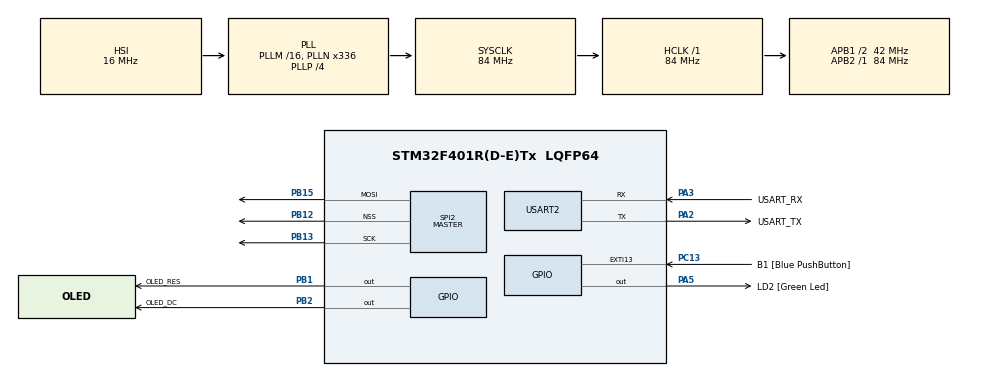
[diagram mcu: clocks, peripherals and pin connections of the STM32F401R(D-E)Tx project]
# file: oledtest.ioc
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Mcu.Family=STM32F4
Mcu.Name=STM32F401R(D-E)Tx
Mcu.Package=LQFP64
NVIC.PriorityGroup=NVIC_PRIORITYGROUP_0
PA13.GPIO_Label=TMS
PA13.Mode=Serial_Wire
PA13.Signal=SYS_JTMS-SWDIO
PA14.GPIO_Label=TCK
PA14.Mode=Serial_Wire
PA14.Signal=SYS_JTCK-SWCLK
PA2.GPIO_Label=USART_TX
PA2.GPIO_Mode=GPIO_MODE_AF_PP
PA2.GPIO_PuPd=GPIO_NOPULL
PA2.GPIO_Speed=GPIO_SPEED_FREQ_LOW
PA2.Mode=Asynchronous
PA2.Signal=USART2_TX
PA3.GPIO_Label=USART_RX
PA3.GPIO_Mode=GPIO_MODE_AF_PP
PA3.GPIO_PuPd=GPIO_NOPULL
PA3.GPIO_Speed=GPIO_SPEED_FREQ_LOW
PA3.Mode=Asynchronous
PA3.Signal=USART2_RX
PA5.GPIO_Label=LD2 [Green Led]
PA5.GPIO_Mode=GPIO_MODE_OUTPUT_PP
PA5.GPIO_PuPd=GPIO_NOPULL
PA5.GPIO_Speed=GPIO_SPEED_FREQ_LOW
PA5.Signal=GPIO_Output
PB1.GPIO_Label=OLED_RES
PB1.Signal=GPIO_Output
PB12.Mode=NSS_Signal_Hard_Output
PB12.Signal=SPI2_NSS
PB13.Mode=TX_Only_Simplex_Unidirect_Master
PB13.Signal=SPI2_SCK
PB15.Mode=TX_Only_Simplex_Unidirect_Master
PB15.Signal=SPI2_MOSI
PB2.GPIO_Label=OLED_DC
PB2.Signal=GPIO_Output
PB3.GPIO_Label=SWO
PB3.Signal=SYS_JTDO-SWO
PC13-ANTI_TAMP.GPIO_Label=B1 [Blue PushButton]
PC13-ANTI_TAMP.GPIO_ModeDefaultEXTI=GPIO_MODE_IT_FALLING
PC13-ANTI_TAMP.GPIO_PuPd=GPIO_NOPULL
PC13-ANTI_TAMP.Signal=GPXTI13
PC14-OSC32_IN.Mode=LSE-External-Oscillator
PC14-OSC32_IN.Signal=RCC_OSC32_IN
PC15-OSC32_OUT.Mode=LSE-External-Oscillator
PC15-OSC32_OUT.Signal=RCC_OSC32_OUT
PH0\ -\ OSC_IN.Mode=HSE-External-Clock-Source
PH0\ -\ OSC_IN.Signal=RCC_OSC_IN
PH1\ -\ OSC_OUT.Mode=HSE-External-Clock-Source
PH1\ -\ OSC_OUT.Signal=RCC_OSC_OUT
ProjectManager.HeapSize=0x200
ProjectManager.StackSize=0x400
ProjectManager.TargetToolchain=Makefile
RCC.48MHZClocksFreq_Value=48000000
RCC.AHBFreq_Value=84000000
RCC.APB1CLKDivider=RCC_HCLK_DIV2
RCC.APB1Freq_Value=42000000
RCC.APB1TimFreq_Value=84000000
RCC.APB2Freq_Value=84000000
RCC.APB2TimFreq_Value=84000000
RCC.CortexFreq_Value=84000000
RCC.HCLKFreq_Value=84000000
RCC.HSE_VALUE=8000000
RCC.HSI_VALUE=16000000
RCC.PLLN=336
RCC.PLLP=RCC_PLLP_DIV4
RCC.PLLQ=7
RCC.SYSCLKFreq_VALUE=84000000
RCC.SYSCLKSource=RCC_SYSCLKSOURCE_PLLCLK
RCC.VCOOutputFreq_Value=336000000
SPI2.BaudRatePrescaler=SPI_BAUDRATEPRESCALER_256
SPI2.Direction=SPI_DIRECTION_2LINES
SPI2.Mode=SPI_MODE_MASTER
SPI2.VirtualNSS=VM_NSSHARD
SPI2.VirtualType=VM_MASTER
USART2.VirtualMode=VM_ASYNC
board=NUCLEO-F401RE

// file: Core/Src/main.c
/* USER CODE BEGIN Header */
/**
  ******************************************************************************
  * @file           : main.c
  * @brief          : Main program body
  ******************************************************************************
  * @attention
  *
  * Copyright (c) 2024 STMicroelectronics.
  * All rights reserved.
  *
  * This software is licensed under terms that can be found in the LICENSE file
  * in the root directory of this software component.
  * If no LICENSE file comes with this software, it is provided AS-IS.
  *
  ******************************************************************************
  */
/* USER CODE END Header */
#include "main.h"
#include "spi.h"
#include "usart.h"
#include "gpio.h"

/* USER CODE BEGIN Includes */
#include <stdio.h>
#include "u8g2.h"

/* USER CODE END Includes */

/* USER CODE BEGIN PV */
static u8g2_t u8g2;
extern const uint8_t u8g2_font_zh_tw[] U8G2_FONT_SECTION("u8g2_font_zh_tw");

/* USER CODE END PV */

void SystemClock_Config(void);

/* USER CODE BEGIN 0 */
uint8_t u8x8_stm32_gpio_and_delay(U8X8_UNUSED u8x8_t *u8x8,
    U8X8_UNUSED uint8_t msg, U8X8_UNUSED uint8_t arg_int,
    U8X8_UNUSED void *arg_ptr)
{
  switch (msg)
  {
  case U8X8_MSG_GPIO_AND_DELAY_INIT:
    HAL_Delay(1);
    break;
  case U8X8_MSG_DELAY_MILLI:
    HAL_Delay(arg_int);
    break;
  case U8X8_MSG_GPIO_CS:
    // HAL_GPIO_WritePin(CS_GPIO_Port, CS_Pin, arg_int);
  case U8X8_MSG_GPIO_DC:
    // HAL_GPIO_WritePin(OLED_DC_GPIO_Port, OLED_DC_Pin, arg_int);
    break;
  case U8X8_MSG_GPIO_RESET:
    HAL_GPIO_WritePin(OLED_RES_GPIO_Port, OLED_RES_Pin, arg_int);
    break;
  }
  return 1;
}

uint8_t u8x8_byte_4wire_hw_spi(u8x8_t *u8x8, uint8_t msg, uint8_t arg_int,
    void *arg_ptr)
{
  switch (msg)
  {
  case U8X8_MSG_BYTE_SEND:
    u8x8_gpio_SetCS(u8x8, u8x8->display_info->chip_enable_level);
    u8x8->gpio_and_delay_cb(u8x8, U8X8_MSG_DELAY_NANO, u8x8->display_info->post_chip_enable_wait_ns, NULL);
    HAL_SPI_Transmit(&hspi2, (uint8_t *) arg_ptr, arg_int, 10000);
    u8x8->gpio_and_delay_cb(u8x8, U8X8_MSG_DELAY_NANO, u8x8->display_info->pre_chip_disable_wait_ns, NULL);
    u8x8_gpio_SetCS(u8x8, u8x8->display_info->chip_disable_level);
    break;
  case U8X8_MSG_BYTE_INIT:
    break;
  case U8X8_MSG_BYTE_SET_DC:
    HAL_GPIO_WritePin(OLED_DC_GPIO_Port, OLED_DC_Pin, arg_int);
    break;
  case U8X8_MSG_BYTE_START_TRANSFER:
    break;
  case U8X8_MSG_BYTE_END_TRANSFER:
    break;
  default:
    return 0;
  }
  return 1;
}
/* USER CODE END 0 */

int main(void)
{

  /* MCU Configuration--------------------------------------------------------*/

  /* Reset of all peripherals, Initializes the Flash interface and the Systick. */
  HAL_Init();

  /* Configure the system clock */
  SystemClock_Config();

  /* Initialize all configured peripherals */
  MX_GPIO_Init();
  MX_USART2_UART_Init();
  MX_SPI2_Init();
  /* USER CODE BEGIN 2 */
  printf("%s Start\n", __FUNCTION__);
  // HAL_GPIO_WritePin(CS_GPIO_Port, CS_Pin, 1);
  u8g2_Setup_ssd1305_128x32_adafruit_1(&u8g2, U8G2_R0, u8x8_byte_4wire_hw_spi, u8x8_stm32_gpio_and_delay);
  // u8g2_Setup_ssd1322_nhd_256x64_1(&u8g2, U8G2_R0, u8x8_byte_4wire_hw_spi, u8x8_stm32_gpio_and_delay);
  u8g2_InitDisplay(&u8g2);
  u8g2_SetPowerSave(&u8g2, 0);
  /* USER CODE END 2 */

  /* Infinite loop */
  /* USER CODE BEGIN WHILE */
  u8g2_ClearBuffer(&u8g2);
  while (1)
  {
    /* USER CODE END WHILE */

    /* USER CODE BEGIN 3 */
    u8g2_FirstPage(&u8g2);
    do
    {
      u8g2_SetFont(&u8g2, u8g2_font_zh_tw);
      u8g2_DrawUTF8(&u8g2, 1, 14, "經典咖啡");
      u8g2_DrawUTF8(&u8g2, 1, 28, "     94好喝abc");
      // HAL_Delay(200);
    } while (u8g2_NextPage(&u8g2));
  }
  printf("%s End\n", __FUNCTION__);
  /* USER CODE END 3 */
}

void SystemClock_Config(void)
{
  RCC_OscInitTypeDef RCC_OscInitStruct = {0};
  RCC_ClkInitTypeDef RCC_ClkInitStruct = {0};

  /** Configure the main internal regulator output voltage
  */
  __HAL_RCC_PWR_CLK_ENABLE();
  __HAL_PWR_VOLTAGESCALING_CONFIG(PWR_REGULATOR_VOLTAGE_SCALE2);

  /** Initializes the RCC Oscillators according to the specified parameters
  * in the RCC_OscInitTypeDef structure.
  */
  RCC_OscInitStruct.OscillatorType = RCC_OSCILLATORTYPE_HSI;
  RCC_OscInitStruct.HSIState = RCC_HSI_ON;
  RCC_OscInitStruct.HSICalibrationValue = RCC_HSICALIBRATION_DEFAULT;
  RCC_OscInitStruct.PLL.PLLState = RCC_PLL_ON;
  RCC_OscInitStruct.PLL.PLLSource = RCC_PLLSOURCE_HSI;
  RCC_OscInitStruct.PLL.PLLM = 16;
  RCC_OscInitStruct.PLL.PLLN = 336;
  RCC_OscInitStruct.PLL.PLLP = RCC_PLLP_DIV4;
  RCC_OscInitStruct.PLL.PLLQ = 7;
  if (HAL_RCC_OscConfig(&RCC_OscInitStruct) != HAL_OK)
  {
    Error_Handler();
  }

  /** Initializes the CPU, AHB and APB buses clocks
  */
  RCC_ClkInitStruct.ClockType = RCC_CLOCKTYPE_HCLK|RCC_CLOCKTYPE_SYSCLK
                              |RCC_CLOCKTYPE_PCLK1|RCC_CLOCKTYPE_PCLK2;
  RCC_ClkInitStruct.SYSCLKSource = RCC_SYSCLKSOURCE_PLLCLK;
  RCC_ClkInitStruct.AHBCLKDivider = RCC_SYSCLK_DIV1;
  RCC_ClkInitStruct.APB1CLKDivider = RCC_HCLK_DIV2;
  RCC_ClkInitStruct.APB2CLKDivider = RCC_HCLK_DIV1;

  if (HAL_RCC_ClockConfig(&RCC_ClkInitStruct, FLASH_LATENCY_2) != HAL_OK)
  {
    Error_Handler();
  }
}

void Error_Handler(void)
{
  __disable_irq();
  while (1)
  {
  }
}
